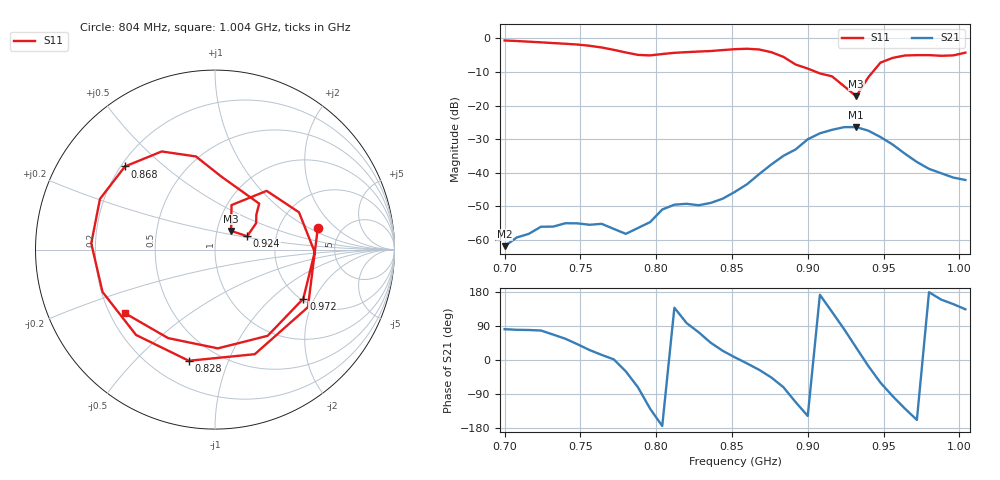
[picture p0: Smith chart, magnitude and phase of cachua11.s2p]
# Hz S RI R 50
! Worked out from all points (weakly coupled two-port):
!   39 points, 700 MHz to 1.004 GHz, reference 50 ohm
!   highest |S21| = -26.39 dB at 932 MHz (marker M1); lowest = -61.8 dB at 700 MHz (marker M2)
!   lowest |S11| = -17.2 dB at 932 MHz (marker M3), VSWR 1.32, Z = 58.4 + j12.4 ohm
!   |S11| at or under -10 dB: 905.6 MHz to 942.9 MHz (37.25 MHz wide, 4.03 % of centre)
!   S12 and S22 are empty: the file has one direction only
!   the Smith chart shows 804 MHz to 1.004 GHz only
!   S11 on the Smith chart (normalised r, x): 804 MHz: 3.35, +1.20; 828 MHz: 0.35, -0.73; 868 MHz: 0.22, +0.38; 924 MHz: 1.42, +0.22; 972 MHz: 2.05, -1.64; 1.004 GHz: 0.26, -0.30
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7e8  0.7632 0.5321  0.000123 0.000803  0 0  0 0
7.24e8  0.8322 -0.261  0.000336 0.00155  0 0  0 0
7.4e8  0.4419 -0.7039  0.000989 0.00148  0 0  0 0
7.56e8  -0.2035 -0.7484  0.00151 0.000749  0 0  0 0
7.72e8  -0.651 -0.178  0.00147 4.45e-05  0 0  0 0
7.8e8  -0.5676 0.2404  0.00107 -0.000622  0 0  0 0
7.88e8  -0.202 0.5304  0.000465 -0.00144  0 0  0 0
7.96e8  0.273 0.486  -0.00115 -0.00145  0 0  0 0
8.04e8  0.5727 0.1181  -0.00283 -0.000294  0 0  0 0
8.2e8  0.2217 -0.5828  -0.000465 0.00344  0 0  0 0
8.28e8  -0.1459 -0.6194  0.000953 0.00316  0 0  0 0
8.52e8  -0.6895 0.0348  0.00519 0.000622  0 0  0 0
8.68e8  -0.5015 0.4632  0.00863 -0.00423  0 0  0 0
8.84e8  -0.1063 0.5189  0.00555 -0.0171  0 0  0 0
9.08e8  0.2303 0.1936  -0.0383 0.00538  0 0  0 0
9.24e8  0.1792 0.0743  0.00724 0.0473  0 0  0 0
9.32e8  0.0898 0.1045  0.0405 0.0257  0 0  0 0
9.48e8  0.2879 0.3273  0.0171 -0.0295  0 0  0 0
9.56e8  0.4679 0.2079  -0.00248 -0.0263  0 0  0 0
9.72e8  0.4921 -0.2732  -0.0135 -0.00542  0 0  0 0
9.88e8  0.0157 -0.5503  -0.00924 0.00348  0 0  0 0
1.004e9  -0.4992 -0.3558  -0.00542 0.00565  0 0  0 0
